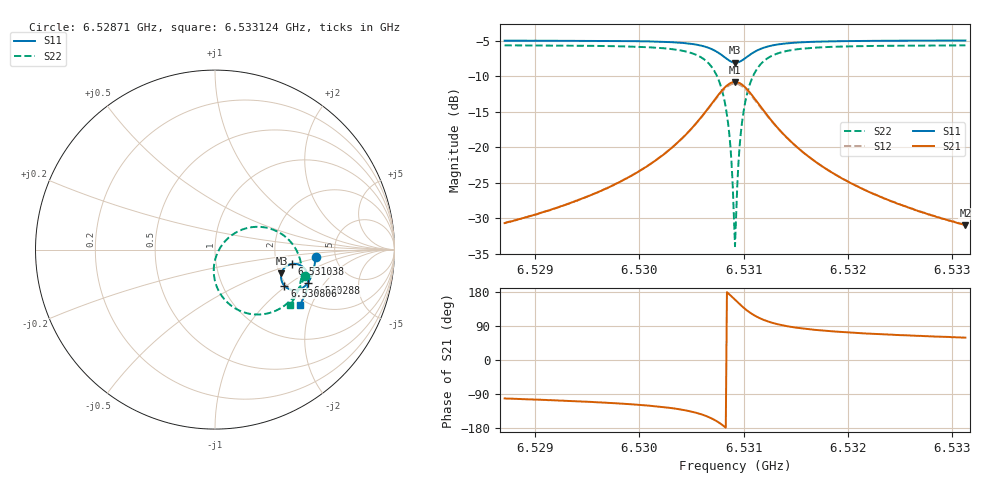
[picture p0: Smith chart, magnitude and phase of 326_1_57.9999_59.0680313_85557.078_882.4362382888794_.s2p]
#  HZ  S  RI  R  50.00
! Rohde & Schwarz Vector Network Analyzer
! Rohde-Schwarz,ZNB20-2Port,1311601062101988,3.16
! Created: UTC 3/21/2024, 1:04:54 AM
! freq[Hz]  re:S11  im:S11  re:S21  im:S21  re:S12  im:S12  re:S22  im:S22
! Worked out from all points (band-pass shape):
!   401 points, 6.52871 GHz to 6.533124 GHz, reference 50 ohm
!   highest |S21| = -10.81 dB at 6.530917 GHz (marker M1); lowest = -31.0 dB at 6.533124 GHz (marker M2)
!   |S21| within 3 dB of the highest: 6.530697 GHz to 6.531137 GHz (440.8 kHz wide, 0.00675 % of centre)
!   lowest |S11| = -8.1 dB at 6.530917 GHz (marker M3), VSWR 2.29, Z = 102 - j31.8 ohm
!   |S11| at or under -10 dB: nowhere
!   |S22| runs from -33.9 to -5.7 dB; largest |S21 - S12| = 0.011
!   S11 on the Smith chart (normalised r, x): 6.52871 GHz: 3.50, -0.43; 6.530288 GHz: 2.61, -1.39; 6.530806 GHz: 1.94, -0.96; 6.531038 GHz: 2.43, -0.48; 6.533124 GHz: 1.83, -1.65
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6.5287098e9  0.56 -0.042  -0.00584 -0.0287  -0.00636 -0.0286  0.4997 -0.1461
6.5294491e9  0.5512 -0.1026  -0.0145 -0.041  -0.0153 -0.0407  0.4714 -0.2133
6.5301884e9  0.5246 -0.174  -0.0459 -0.0705  -0.0477 -0.0693  0.3951 -0.3062
6.5302877e9  0.517 -0.1857  -0.0566 -0.0774  -0.0588 -0.0759  0.3721 -0.3226
6.5306409e9  0.4542 -0.2254  -0.1525 -0.0958  -0.1549 -0.0897  0.1895 -0.357
6.5307402e9  0.4153 -0.2208  -0.2128 -0.0724  -0.2127 -0.0638  0.0863 -0.3095
6.5308064e9  0.3864 -0.201  -0.256 -0.028  -0.252 -0.0188  0.0195 -0.2282
6.5308615e9  0.3698 -0.1701  -0.2775 0.032  -0.2698 0.0396  -0.00702 -0.1246
6.5308726e9  0.3684 -0.1625  -0.2786 0.0458  -0.2702 0.053  -0.00662 -0.1013
6.5308947e9  0.3676 -0.147  -0.2767 0.0745  -0.2674 0.08  0.00107 -0.0544
6.5309057e9  0.3686 -0.1391  -0.2736 0.0889  -0.2641 0.0936  0.00854 -0.0313
6.5309167e9  0.3704 -0.1313  -0.2691 0.1029  -0.2593 0.1067  0.0181 -0.00891
6.5309278e9  0.3731 -0.1238  -0.2631 0.1164  -0.2533 0.1194  0.03 0.0123
6.5309388e9  0.3766 -0.1166  -0.2561 0.1292  -0.2462 0.1312  0.0439 0.0322
6.5309609e9  0.3856 -0.1039  -0.2382 0.1521  -0.2291 0.1525  0.0765 0.0668
6.5309829e9  0.3966 -0.0934  -0.2174 0.1704  -0.209 0.1694  0.1136 0.0936
6.5310381e9  0.428 -0.0798  -0.1604 0.1954  -0.1547 0.1928  0.2122 0.1258
6.5311153e9  0.4664 -0.0834  -0.093 0.1934  -0.0898 0.1908  0.326 0.1104
6.5312257e9  0.499 -0.1058  -0.0359 0.1639  -0.0343 0.1624  0.4188 0.0464
6.531656e9  0.5206 -0.1816  0.0139 0.0812  0.0149 0.0809  0.4831 -0.1295
6.5323954e9  0.5004 -0.2542  0.0166 0.0388  0.0172 0.0387  0.4554 -0.2449
6.5331237e9  0.4725 -0.3075  0.0146 0.0243  0.015 0.0241  0.4203 -0.307
